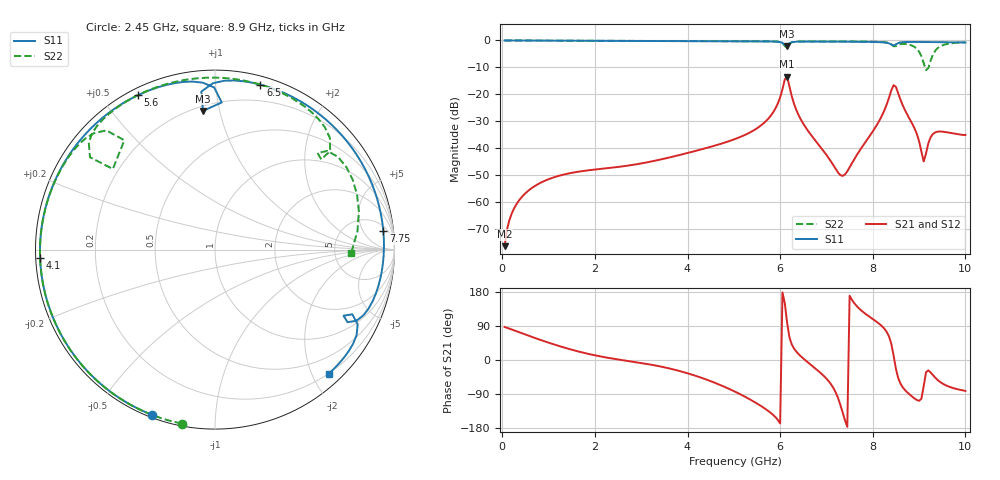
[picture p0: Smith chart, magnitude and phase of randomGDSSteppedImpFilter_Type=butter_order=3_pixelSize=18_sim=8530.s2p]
! freq	dB(S11)	phase(S11)	dB(S12)	phase(S12)
!  dB(S21)	phase(S21)	dB(S22)	phase(S22)
!S-par simulation data
#  GHz  S  DB  R 50
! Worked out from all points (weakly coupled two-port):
!   200 points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, 50 MHz to 10 GHz, reference 50 ohm
!   highest |S21| = -13.42 dB at 6.15 GHz (marker M1); lowest = -76.6 dB at 50 MHz (marker M2)
!   lowest |S11| = -2.2 dB at 6.15 GHz (marker M3), VSWR 7.92, Z = 11.5 + j44.5 ohm
!   |S11| at or under -10 dB: nowhere
!   |S22| runs from -11.0 to 0.0 dB; largest |S21 - S12| = 0
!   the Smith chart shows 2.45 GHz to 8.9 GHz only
!   S11 on the Smith chart (normalised r, x): 2.45 GHz: 0.01, -0.69; 4.1 GHz: 0.01, -0.02; 5.6 GHz: 0.03, +0.62; 6.5 GHz: 0.06, +1.31; 7.75 GHz: 8, +14; 8.9 GHz: 0.20, -2.26
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0.05  -0.00 -2.4  -76.56 87.1  -76.56 87.1  -0.00 -2.2
0.2  -0.01 -9.7  -64.57 80.6  -64.57 80.6  -0.01 -8.9
0.5  -0.03 -24.1  -56.85 67.1  -56.85 67.1  -0.03 -22.1
1.75  -0.10 -81.2  -48.57 19.2  -48.57 19.2  -0.09 -74.3
2.45  -0.13 -110.8  -47.18 2.4  -47.18 2.4  -0.12 -100.9
3.4  -0.17 -149.1  -44.38 -16.7  -44.38 -16.7  -0.15 -134.1
4.1  -0.21 -177.2  -41.44 -38.8  -41.44 -38.8  -0.18 -157.2
5.05  -0.28 142.4  -36.53 -85.0  -36.53 -85.0  -0.23 171.9
5.6  -0.34 116.7  -31.43 -122.4  -31.43 -122.4  -0.28 153.3
6.05  -0.88 90.3  -18.16 178.2  -18.16 178.2  -0.93 132.4
6.15  -2.20 95.0  -13.42 98.8  -13.42 98.8  -2.79 141.7
6.5  -0.41 74.6  -31.01 3.9  -31.01 3.9  -0.35 126.9
6.7  -0.41 63.5  -35.91 -16.3  -35.91 -16.3  -0.34 119.1
7.35  -0.46 27.9  -50.41 -138.7  -50.41 -138.7  -0.36 94.1
7.75  -0.50 6.3  -40.12 130.9  -40.12 130.9  -0.41 77.4
8.35  -1.09 -26.7  -21.34 62.3  -21.34 62.3  -0.98 44.3
8.5  -1.45 -25.2  -17.29 -23.5  -17.29 -23.5  -2.10 43.2
8.9  -0.56 -47.4  -32.67 -101.3  -32.67 -101.3  -2.39 -1.3
9.1  -0.58 -56.8  -45.05 -68.9  -45.05 -68.9  -8.39 -73.3
9.25  -0.60 -63.5  -36.00 -32.8  -36.00 -32.8  -7.43 143.9
9.45  -0.64 -72.0  -33.88 -57.6  -33.88 -57.6  -2.27 81.8
10  -0.75 -94.2  -35.17 -81.6  -35.17 -81.6  -0.69 32.5
